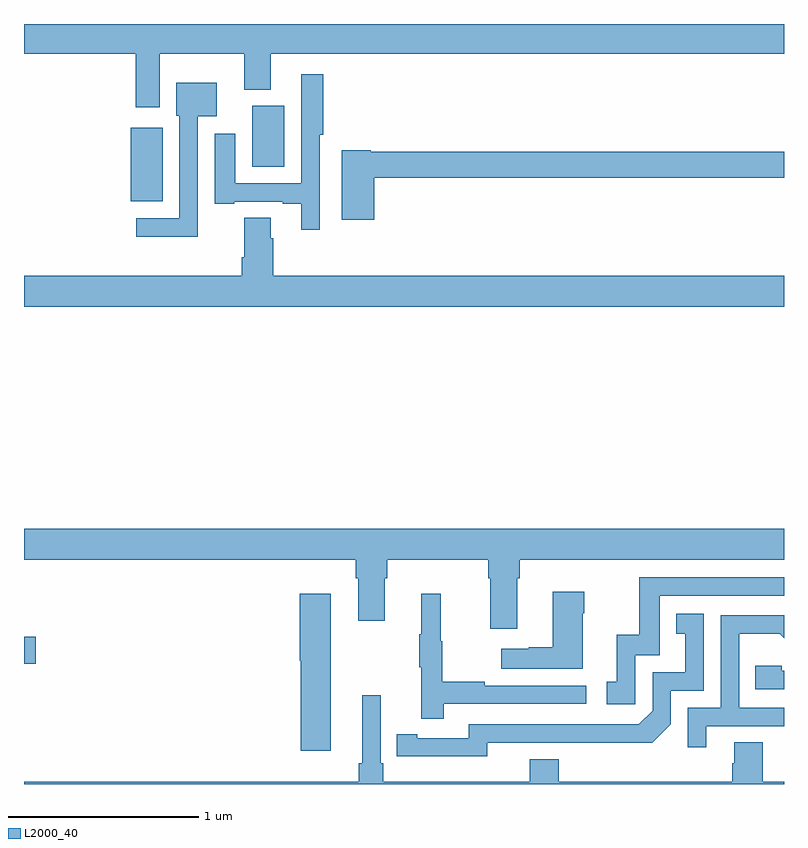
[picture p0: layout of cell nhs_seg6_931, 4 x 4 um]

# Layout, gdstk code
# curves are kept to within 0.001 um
import gdstk
lib = gdstk.Library(unit=1e-6, precision=1e-09)
def R(c, l, rs):  # rectangles x0, y0, x1, y1
    for r in rs: c.add(gdstk.rectangle(r[:2], r[2:], *l))
def P(c, l, *ps):  # polygons
    for p in ps: c.add(gdstk.Polygon(p, *l))
L2000_40 = (2000, 40)

nhs_seg6_931 = lib.new_cell('nhs_seg6_931')
R(nhs_seg6_931, L2000_40, [(169,936.134,169.063,936.276), (169.562,938.567,169.729,938.953), (170.201,938.75,170.371,939.07)])
P(nhs_seg6_931, L2000_40, [(169,939.344),(169.589,939.344),(169.589,939.063),(169.714,939.063),(169.714,939.344),(170.159,939.344),(170.159,939.155),(170.299,939.155),(170.299,939.344),(173,939.344),(173,939.5),(169,939.5)],
  [(170.556,938.917),(170.576,938.917),(170.576,939.235),(170.46,939.235),(170.46,938.661),(170.113,938.661),(170.113,938.923),(170.003,938.923),(170.003,938.553),(170.107,938.553),(170.107,938.565),(170.363,938.565),(170.363,938.553),(170.459,938.553),(170.459,938.418),(170.556,938.418)],
  [(169.914,939.014),(170.014,939.014),(170.014,939.19),(169.802,939.19),(169.802,939.018),(169.818,939.018),(169.818,938.478),(169.59,938.478),(169.59,938.381),(169.914,938.381)],
  [(170.843,938.692),(173,938.692),(173,938.828),(170.826,938.828),(170.826,938.836),(170.672,938.836),(170.672,938.469),(170.843,938.469)],
  [(173,938.176),(170.312,938.176),(170.312,938.372),(170.299,938.372),(170.299,938.48),(170.159,938.48),(170.159,938.272),(170.147,938.272),(170.147,938.176),(169,938.176),(169,938.012),(173,938.012)],
  [(171.595,936.584),(171.608,936.584),(171.608,936.68),(173,936.68),(173,936.844),(169,936.844),(169,936.68),(170.747,936.68),(170.747,936.584),(170.759,936.584),(170.759,936.36),(170.899,936.36),(170.899,936.584),(170.912,936.584),(170.912,936.68),(171.443,936.68),(171.443,936.584),(171.455,936.584),(171.455,936.318),(171.595,936.318)],
  [(172.218,936.177),(172.347,936.177),(172.347,936.492),(173,936.492),(173,936.588),(172.239,936.588),(172.239,936.286),(172.121,936.286),(172.121,936.039),(172.068,936.039),(172.068,935.919),(172.218,935.919)],
  [(171.94,936.398),(171.948,936.398),(171.948,936.511),(171.782,936.511),(171.782,936.221),(171.656,936.221),(171.656,936.211),(171.513,936.211),(171.513,936.107),(171.94,936.107)],
  [(171.209,935.922),(171.958,935.922),(171.958,936.018),(171.425,936.018),(171.425,936.038),(171.202,936.038),(171.202,936.252),(171.194,936.252),(171.194,936.502),(171.092,936.502),(171.092,936.289),(171.081,936.289),(171.081,936.115),(171.092,936.115),(171.092,935.844),(171.209,935.844)],
  [(170.614,936.502),(170.45,936.502),(170.45,936.15),(170.456,936.15),(170.456,935.676),(170.614,935.676)],
  [(171.438,935.718),(172.306,935.717),(172.404,935.814),(172.404,935.991),(172.578,935.991),(172.578,936.397),(172.432,936.397),(172.432,936.291),(172.481,936.291),(172.481,936.087),(172.308,936.087),(172.308,935.886),(172.236,935.814),(171.342,935.814),(171.342,935.742),(171.07,935.742),(171.07,935.762),(170.962,935.762),(170.962,935.646),(171.438,935.645)],
  [(172.591,935.805),(173,935.805),(173,935.901),(172.764,935.901),(172.764,936.29),(172.978,936.29),(173,936.268),(173,936.387),(172.668,936.387),(172.668,935.901),(172.494,935.901),(172.494,935.694),(172.591,935.694)],
  [(173,936.096),(172.989,936.096),(172.989,936.123),(172.849,936.123),(172.849,936),(173,936)],
  [(173,935.512),(172.887,935.512),(172.887,935.72),(172.739,935.72),(172.739,935.61),(172.727,935.61),(172.727,935.512),(171.815,935.512),(171.815,935.629),(171.662,935.629),(171.662,935.512),(170.891,935.512),(170.891,935.608),(170.877,935.608),(170.877,935.968),(170.78,935.968),(170.78,935.608),(170.761,935.608),(170.761,935.512),(169,935.512),(169,935.5),(173,935.5)])

lib.write_gds('nhs_seg6_931.gds')
